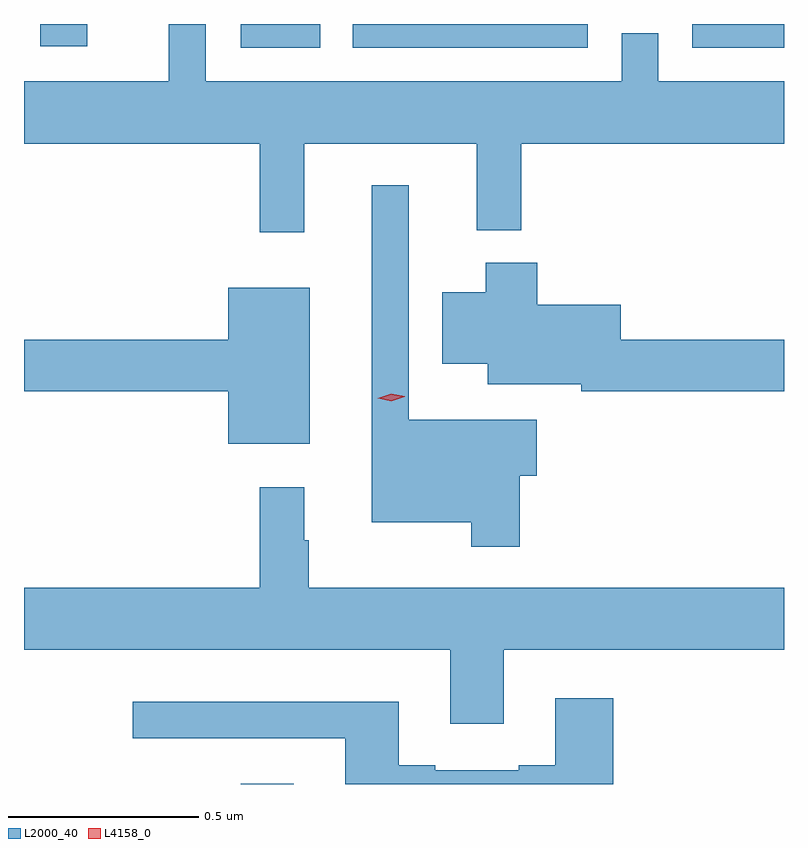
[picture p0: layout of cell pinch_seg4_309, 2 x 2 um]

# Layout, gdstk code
import gdstk
lib = gdstk.Library(unit=1e-6, precision=1e-09)
def R(c, l, rs):  # rectangles x0, y0, x1, y1
    for r in rs: c.add(gdstk.rectangle(r[:2], r[2:], *l))
def P(c, l, *ps):  # polygons
    for p in ps: c.add(gdstk.Polygon(p, *l))
L2000_40 = (2000, 40)
L4158_0 = (4158, 0)

pinch_seg4_309 = lib.new_cell('pinch_seg4_309')
R(pinch_seg4_309, L2000_40, [(948.605,793.803,948.745,793.804), (948.606,795.741,948.815,795.803), (948.9,795.741,949.518,795.803), (949.794,795.741,950.035,795.803), (948.078,795.744,948.202,795.803)])
P(pinch_seg4_309, L2000_40, [(948.773,795.488),(949.226,795.488),(949.226,795.26),(949.343,795.26),(949.343,795.488),(950.035,795.488),(950.035,795.652),(949.704,795.652),(949.704,795.779),(949.608,795.779),(949.608,795.652),(948.513,795.652),(948.513,795.803),(948.416,795.803),(948.416,795.652),(948.035,795.652),(948.035,795.488),(948.655,795.488),(948.655,795.255),(948.773,795.255)],
  [(949.34,794.614),(949.384,794.614),(949.384,794.761),(949.047,794.761),(949.047,795.379),(948.95,795.379),(948.95,794.492),(949.212,794.492),(949.212,794.427),(949.34,794.427)],
  [(950.035,794.972),(949.606,794.972),(949.606,795.064),(949.385,795.064),(949.385,795.175),(949.25,795.175),(949.25,795.097),(949.136,795.097),(949.136,794.909),(949.256,794.909),(949.256,794.855),(949.502,794.855),(949.502,794.836),(950.035,794.836)],
  [(948.787,795.109),(948.572,795.109),(948.572,794.972),(948.035,794.972),(948.035,794.836),(948.572,794.836),(948.572,794.699),(948.787,794.699)],
  [(949.297,794.156),(950.035,794.156),(950.035,794.32),(948.784,794.32),(948.784,794.444),(948.772,794.444),(948.772,794.584),(948.655,794.584),(948.655,794.32),(948.035,794.32),(948.035,794.156),(949.157,794.156),(949.157,793.962),(949.297,793.962)],
  [(949.586,794.029),(949.433,794.029),(949.433,793.852),(949.337,793.852),(949.337,793.839),(949.117,793.839),(949.117,793.852),(949.021,793.852),(949.021,794.02),(948.321,794.02),(948.321,793.923),(948.881,793.923),(948.881,793.803),(949.586,793.803)])
P(pinch_seg4_309, L4158_0, [(949.002,794.81),(948.966,794.818),(948.966,794.818),(948.966,794.818),(949.001,794.83),(949.037,794.823),(949.037,794.822),(949.037,794.822)])

lib.write_gds('pinch_seg4_309.gds')
